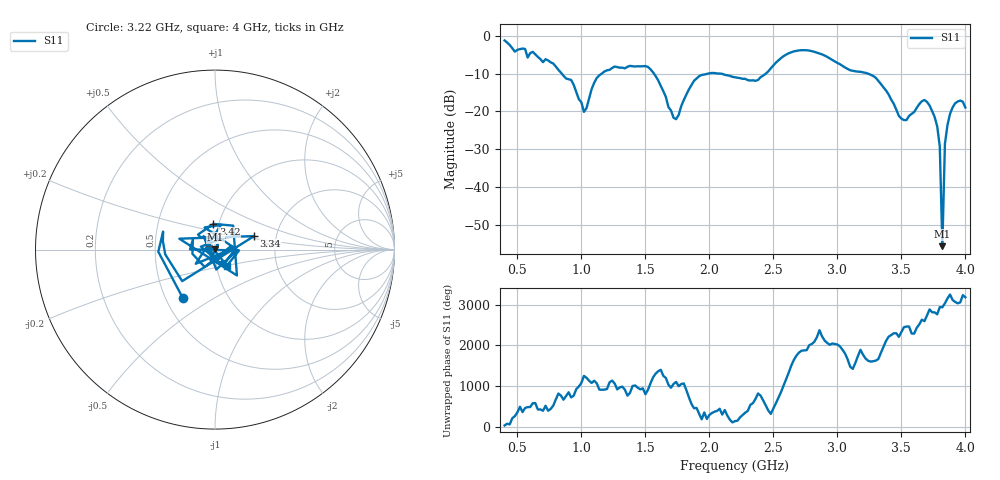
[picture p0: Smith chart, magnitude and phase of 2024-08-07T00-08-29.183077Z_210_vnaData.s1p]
!Created with skrf (http://scikit-rf.org).
# Hz S RI R 50.0
!freq ReS11 ImS11
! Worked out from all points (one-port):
!   181 points, 400 MHz to 4 GHz, reference 50 ohm
!   lowest |S11| = -55.7 dB at 3.82 GHz (marker M1), VSWR 1.00, Z = 50.1 + j0.141 ohm
!   |S11| at or under -10 dB: 1.567 GHz to 1.989 GHz (422.2 MHz wide, 23.7 % of centre); 2.088 GHz to 2.441 GHz (352.8 MHz wide, 15.6 % of centre); 3.24 GHz to end of sweep (the widest 3 of 4)
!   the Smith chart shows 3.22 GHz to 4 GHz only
!   S11 on the Smith chart (normalised r, x): 3.22 GHz: 0.61, -0.37; 3.34 GHz: 1.53, +0.24; 3.42 GHz: 0.94, +0.28; 4 GHz: 1.12, -0.21
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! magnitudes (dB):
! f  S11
! 400 MHz  -1.2
! 860 MHz  -10.5
! 920 MHz  -11.7
! 1.02 GHz  -20.1
! 1.12 GHz  -11.1
! 1.3 GHz  -8.4
! 1.52 GHz  -8.2
! 1.6 GHz  -11.8
! 1.72 GHz  -21.7
! 1.76 GHz  -20.9
! 1.92 GHz  -10.7
! 2.2 GHz  -11.0
! 2.38 GHz  -11.7
! 2.66 GHz  -4.1
! 3.1 GHz  -9.1
! 3.22 GHz  -9.8
! 3.34 GHz  -12.7
! 3.42 GHz  -16.9
! 3.5 GHz  -21.9
! 3.56 GHz  -21.2
! 3.68 GHz  -17.0
! 3.78 GHz  -24.0
! 3.8 GHz  -29.3
! 3.82 GHz  -55.7
! 3.84 GHz  -28.6
! 3.86 GHz  -23.6
! 3.92 GHz  -17.9
! 4 GHz  -19.0
